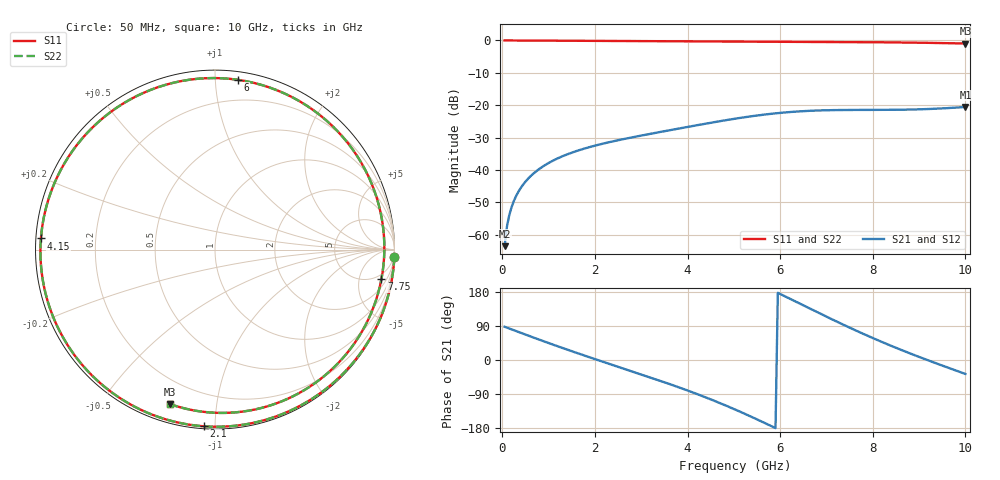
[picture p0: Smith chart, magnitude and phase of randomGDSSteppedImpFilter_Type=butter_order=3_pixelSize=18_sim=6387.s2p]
! freq	dB(S11)	phase(S11)	dB(S12)	phase(S12)
!  dB(S21)	phase(S21)	dB(S22)	phase(S22)
!S-par simulation data
#  GHz  S  DB  R 50
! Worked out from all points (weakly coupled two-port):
!   200 points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, 50 MHz to 10 GHz, reference 50 ohm
!   highest |S21| = -20.53 dB at 10 GHz (marker M1); lowest = -63.5 dB at 50 MHz (marker M2)
!   lowest |S11| = -0.9 dB at 10 GHz (marker M3), VSWR 18.32, Z = 4.26 - j37.4 ohm
!   |S11| at or under -10 dB: nowhere
!   |S22| runs from -0.9 to 0.0 dB; largest |S21 - S12| = 0
!   S11 on the Smith chart (normalised r, x): 50 MHz: 0, -50; 2.1 GHz: 0.01, -0.94; 4.15 GHz: 0.01, +0.03; 6 GHz: 0.05, +1.14; 7.75 GHz: 3, -10; 10 GHz: 0.09, -0.75
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0.05  -0.00 -2.3  -63.49 87.7  -63.49 87.7  -0.00 -2.3
0.1  -0.00 -4.6  -57.47 85.4  -57.47 85.4  -0.00 -4.6
0.2  -0.00 -9.2  -51.46 80.8  -51.46 80.8  -0.00 -9.2
0.35  -0.01 -16.0  -46.64 73.9  -46.64 73.9  -0.01 -16.0
0.5  -0.02 -22.8  -43.59 67.1  -43.59 67.1  -0.02 -22.9
1.15  -0.07 -52.0  -36.70 38.2  -36.70 38.2  -0.07 -52.0
1.75  -0.10 -78.4  -33.46 12.7  -33.46 12.7  -0.10 -78.4
2.1  -0.12 -93.5  -32.10 -1.7  -32.10 -1.7  -0.12 -93.6
2.7  -0.15 -119.4  -30.20 -25.9  -30.20 -25.9  -0.15 -119.4
3.4  -0.19 -149.8  -28.27 -54.5  -28.27 -54.5  -0.19 -149.9
4.15  -0.25 176.3  -26.30 -87.2  -26.30 -87.2  -0.25 176.3
4.6  -0.29 155.0  -25.16 -108.7  -25.16 -108.7  -0.29 154.9
5.05  -0.32 132.6  -24.09 -131.9  -24.09 -131.9  -0.33 132.5
5.55  -0.37 106.5  -23.07 -159.5  -23.07 -159.5  -0.37 106.4
6  -0.40 82.3  -22.35 174.3  -22.35 174.3  -0.40 82.1
6.35  -0.43 63.2  -21.95 153.4  -21.95 153.4  -0.43 63.0
6.7  -0.45 44.1  -21.67 132.3  -21.67 132.3  -0.45 43.9
7.2  -0.48 17.6  -21.48 102.6  -21.48 102.6  -0.48 17.4
7.75  -0.52 -10.1  -21.44 71.5  -21.44 71.5  -0.52 -10.3
8.35  -0.59 -38.1  -21.42 39.8  -21.42 39.8  -0.59 -38.3
9.15  -0.72 -72.2  -21.19 1.2  -21.19 1.2  -0.72 -72.3
10  -0.95 -106.2  -20.53 -36.8  -20.53 -36.8  -0.95 -106.3
